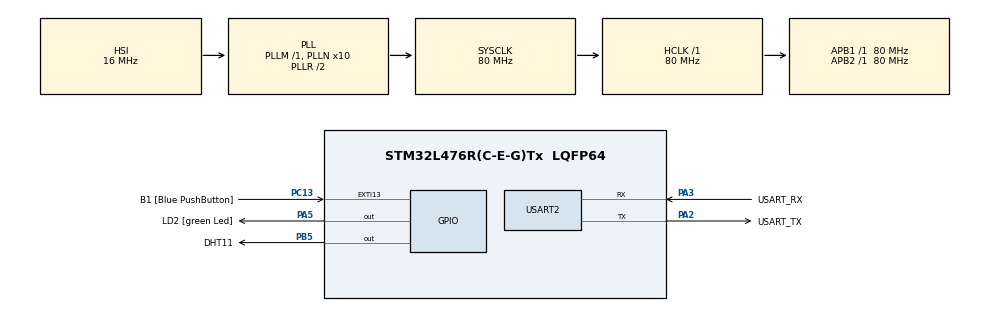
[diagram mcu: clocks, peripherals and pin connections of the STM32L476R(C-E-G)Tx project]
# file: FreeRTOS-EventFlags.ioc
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FREERTOS.Events01=DHT_PRINT,Dynamic,NULL;DELAY_PRINT,Dynamic,NULL
FREERTOS.Tasks01=defaultTask,24,128,StartDefaultTask,Default,NULL,Dynamic,NULL,NULL;Delay1,24,128,entry_Delay1,As external,NULL,Dynamic,NULL,NULL;Print,24,256,entry_Print,As external,NULL,Dynamic,NULL,NULL;BlueLedBlink,24,128,entry_BlueLedBlink,As external,&led,Dynamic,NULL,NULL;Delay2,24,128,entry_Delay2,As external,NULL,Dynamic,NULL,NULL;Delay3,24,128,entry_Delay3,As external,NULL,Dynamic,NULL,NULL
FREERTOS.configTOTAL_HEAP_SIZE=6000
Mcu.Family=STM32L4
Mcu.Name=STM32L476R(C-E-G)Tx
Mcu.Package=LQFP64
NVIC.PriorityGroup=NVIC_PRIORITYGROUP_4
NVIC.TIM1_UP_TIM16_IRQn=true\:15\:0\:false\:false\:true\:false\:false\:true\:true
NVIC.TimeBase=TIM1_UP_TIM16_IRQn
NVIC.TimeBaseIP=TIM16
PA13\ (JTMS-SWDIO).GPIO_Label=TMS
PA13\ (JTMS-SWDIO).Mode=Serial_Wire
PA13\ (JTMS-SWDIO).Signal=SYS_JTMS-SWDIO
PA14\ (JTCK-SWCLK).GPIO_Label=TCK
PA14\ (JTCK-SWCLK).Mode=Serial_Wire
PA14\ (JTCK-SWCLK).Signal=SYS_JTCK-SWCLK
PA2.GPIO_Label=USART_TX
PA2.GPIO_Mode=GPIO_MODE_AF_PP
PA2.GPIO_PuPd=GPIO_NOPULL
PA2.GPIO_Speed=GPIO_SPEED_FREQ_VERY_HIGH
PA2.Mode=Asynchronous
PA2.Signal=USART2_TX
PA3.GPIO_Label=USART_RX
PA3.GPIO_Mode=GPIO_MODE_AF_PP
PA3.GPIO_PuPd=GPIO_NOPULL
PA3.GPIO_Speed=GPIO_SPEED_FREQ_VERY_HIGH
PA3.Mode=Asynchronous
PA3.Signal=USART2_RX
PA5.GPIO_Label=LD2 [green Led]
PA5.GPIO_ModeDefaultOutputPP=GPIO_MODE_OUTPUT_PP
PA5.GPIO_PuPd=GPIO_NOPULL
PA5.GPIO_Speed=GPIO_SPEED_FREQ_LOW
PA5.Signal=GPIO_Output
PB3\ (JTDO-TRACESWO).GPIO_Label=SWO
PB3\ (JTDO-TRACESWO).Signal=SYS_JTDO-SWO
PB5.GPIO_Label=DHT11
PB5.Signal=GPIO_Output
PC13.GPIO_Label=B1 [Blue PushButton]
PC13.GPIO_ModeDefaultEXTI=GPIO_MODE_IT_FALLING
PC13.GPIO_PuPd=GPIO_NOPULL
PC13.Signal=GPXTI13
PC14-OSC32_IN\ (PC14).Mode=LSE-External-Oscillator
PC14-OSC32_IN\ (PC14).Signal=RCC_OSC32_IN
PC15-OSC32_OUT\ (PC15).Mode=LSE-External-Oscillator
PC15-OSC32_OUT\ (PC15).Signal=RCC_OSC32_OUT
PH0-OSC_IN\ (PH0).Signal=RCC_OSC_IN
PH1-OSC_OUT\ (PH1).Signal=RCC_OSC_OUT
ProjectManager.HeapSize=0x200
ProjectManager.StackSize=0x400
ProjectManager.TargetToolchain=STM32CubeIDE
RCC.ADCFreq_Value=64000000
RCC.AHBFreq_Value=80000000
RCC.APB1Freq_Value=80000000
RCC.APB1TimFreq_Value=80000000
RCC.APB2Freq_Value=80000000
RCC.APB2TimFreq_Value=80000000
RCC.CortexFreq_Value=80000000
RCC.HCLKFreq_Value=80000000
RCC.HSE_VALUE=8000000
RCC.HSI_VALUE=16000000
RCC.MSI_VALUE=4000000
RCC.PLLN=10
RCC.PLLSourceVirtual=RCC_PLLSOURCE_HSI
RCC.PREFETCH_ENABLE=1
RCC.SYSCLKFreq_VALUE=80000000
RCC.SYSCLKSource=RCC_SYSCLKSOURCE_PLLCLK
RCC.USBFreq_Value=64000000
RCC.VCOOutputFreq_Value=160000000
TIM6.Prescaler=80
USART2.VirtualMode-Asynchronous=VM_ASYNC
VP_FREERTOS_VS_CMSIS_V2.Mode=CMSIS_V2
VP_SYS_VS_tim16.Mode=TIM16
VP_TIM6_VS_ClockSourceINT.Mode=Enable_Timer
board=NUCLEO-L476RG

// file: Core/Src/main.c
/* USER CODE BEGIN Header */
/**
  ******************************************************************************
  * @file           : main.c
  * @brief          : Main program body
  ******************************************************************************
  * @attention
  *
  * Copyright (c) 2022 STMicroelectronics.
  * All rights reserved.
  *
  * This software is licensed under terms that can be found in the LICENSE file
  * in the root directory of this software component.
  * If no LICENSE file comes with this software, it is provided AS-IS.
  *
  ******************************************************************************
  */
/* USER CODE END Header */
#include "main.h"
#include "cmsis_os.h"

/* USER CODE BEGIN Includes */
#include "Dht11.h"
#include "LED.h"
#include "Defines.h"
#include <stdio.h>
/* USER CODE END Includes */

 TIM_HandleTypeDef htim6;

UART_HandleTypeDef huart2;

/* Definitions for defaultTask */
osThreadId_t defaultTaskHandle;
const osThreadAttr_t defaultTask_attributes = {
  .name = "defaultTask",
  .stack_size = 128 * 4,
  .priority = (osPriority_t) osPriorityNormal,
};
/* Definitions for Delay1 */
osThreadId_t Delay1Handle;
const osThreadAttr_t Delay1_attributes = {
  .name = "Delay1",
  .stack_size = 128 * 4,
  .priority = (osPriority_t) osPriorityNormal,
};
/* Definitions for Print */
osThreadId_t PrintHandle;
const osThreadAttr_t Print_attributes = {
  .name = "Print",
  .stack_size = 256 * 4,
  .priority = (osPriority_t) osPriorityNormal,
};
/* Definitions for BlueLedBlink */
osThreadId_t BlueLedBlinkHandle;
const osThreadAttr_t BlueLedBlink_attributes = {
  .name = "BlueLedBlink",
  .stack_size = 128 * 4,
  .priority = (osPriority_t) osPriorityNormal,
};
/* Definitions for Delay2 */
osThreadId_t Delay2Handle;
const osThreadAttr_t Delay2_attributes = {
  .name = "Delay2",
  .stack_size = 128 * 4,
  .priority = (osPriority_t) osPriorityNormal,
};
/* Definitions for Delay3 */
osThreadId_t Delay3Handle;
const osThreadAttr_t Delay3_attributes = {
  .name = "Delay3",
  .stack_size = 128 * 4,
  .priority = (osPriority_t) osPriorityNormal,
};
/* Definitions for DHT_PRINT */
osEventFlagsId_t DHT_PRINTHandle;
const osEventFlagsAttr_t DHT_PRINT_attributes = {
  .name = "DHT_PRINT"
};
/* Definitions for DELAY_PRINT */
osEventFlagsId_t DELAY_PRINTHandle;
const osEventFlagsAttr_t DELAY_PRINT_attributes = {
  .name = "DELAY_PRINT"
};
/* USER CODE BEGIN PV */

int _write(int fd, char* ptr, int len)
{
	HAL_UART_Transmit(&huart2, (uint8_t*)ptr, len, HAL_MAX_DELAY);
	return len;
}

Dht11 dht;
Led led;

/* USER CODE END PV */

void SystemClock_Config(void);
static void MX_GPIO_Init(void);
static void MX_USART2_UART_Init(void);
static void MX_TIM6_Init(void);
void StartDefaultTask(void *argument);
extern void entry_Delay1(void *argument);
extern void entry_Print(void *argument);
extern void entry_BlueLedBlink(void *argument);
extern void entry_Delay2(void *argument);
extern void entry_Delay3(void *argument);

/* USER CODE BEGIN 0 */

/* USER CODE END Header_entry_DHT */
//void entry_DHT(void *argument)
//{
//  /* USER CODE BEGIN entry_DHT */
//  /* Infinite loop */
//  for(;;)
//  {
//	//waiting for all the flag that passed (here - FLAG_DHT only)
//	//osEventFlagsWait(DHT_PRINTHandle, FLAG_DHT, osFlagsWaitAll, osWaitForever);
//	//Dht11_Read(&dht);
//  }
//  /* USER CODE END entry_DHT */
//}

/* USER CODE END Header_entry_Delay */
void entry_Delay1(void *argument)
{
  /* USER CODE BEGIN entry_Delay */
  /* Infinite loop */
  for(;;)
  {
	//osEventFlagsSet(DHT_PRINTHandle, FLAG_DHT);
    osDelay(500);
    osEventFlagsSet(DELAY_PRINTHandle, FLAG_DELAY1);
  }
  /* USER CODE END entry_Delay */
}

/* USER CODE END Header_entry_Delay2 */
void entry_Delay2(void *argument)
{
  /* USER CODE BEGIN entry_Delay2 */
  /* Infinite loop */
  for(;;)
  {
    osDelay(700);
    osEventFlagsSet(DELAY_PRINTHandle, FLAG_DELAY2);
  }
  /* USER CODE END entry_Delay2 */
}

/* USER CODE END Header_entry_Delay2 */
void entry_Delay3(void *argument)
{
  /* USER CODE BEGIN entry_Delay2 */
  /* Infinite loop */
  for(;;)
  {
    osDelay(1100);
    osEventFlagsSet(DELAY_PRINTHandle, FLAG_DELAY3);
  }
  /* USER CODE END entry_Delay2 */
}

/* USER CODE END Header_entry_Print */
void entry_Print(void *argument)
{
  /* USER CODE BEGIN entry_Print */
  /* Infinite loop */
  for(;;)
  {
	  osEventFlagsWait(DELAY_PRINTHandle, FLAG_DELAY1 | FLAG_DELAY2 | FLAG_DELAY3, osFlagsWaitAll, osWaitForever);
	  printf("%ld\r\n",HAL_GetTick());
	  /*
	  //waiting for all the flag that passed (here - FLAG_Print only)
	  osEventFlagsWait(DHT_PRINTHandle, FLAG_PRINT, osFlagsWaitAll, osWaitForever);
	  printf("Humidity - %.2f\r\nTemperature - %.2f\r\nChekSum - %d\r\n\n",dht.humidity,dht.temperature,dht.checkSum);
	  */
  }
  /* USER CODE END entry_Print */
}

/* USER CODE END 0 */

int main(void)
{

  /* MCU Configuration--------------------------------------------------------*/

  /* Reset of all peripherals, Initializes the Flash interface and the Systick. */
  HAL_Init();

  /* USER CODE BEGIN Init */
  Led_init(&led, LD2_GPIO_Port, LD2_Pin);
  /* USER CODE END Init */

  /* Configure the system clock */
  SystemClock_Config();

  /* Initialize all configured peripherals */
  MX_GPIO_Init();
  MX_USART2_UART_Init();
  MX_TIM6_Init();
  /* USER CODE BEGIN 2 */
  __HAL_TIM_SET_COUNTER(&htim6, 0);
  HAL_TIM_Base_Start(&htim6);
  Dht11_init(&dht);
  /* USER CODE END 2 */

  /* Init scheduler */
  osKernelInitialize();

  /* Create the thread(s) */
  /* creation of defaultTask */
  defaultTaskHandle = osThreadNew(StartDefaultTask, NULL, &defaultTask_attributes);

  /* creation of Delay1 */
  Delay1Handle = osThreadNew(entry_Delay1, NULL, &Delay1_attributes);

  /* creation of Print */
  PrintHandle = osThreadNew(entry_Print, NULL, &Print_attributes);

  /* creation of BlueLedBlink */
  BlueLedBlinkHandle = osThreadNew(entry_BlueLedBlink, (void*) &led, &BlueLedBlink_attributes);

  /* creation of Delay2 */
  Delay2Handle = osThreadNew(entry_Delay2, NULL, &Delay2_attributes);

  /* creation of Delay3 */
  Delay3Handle = osThreadNew(entry_Delay3, NULL, &Delay3_attributes);

  /* Create the event(s) */
  /* creation of DHT_PRINT */
  DHT_PRINTHandle = osEventFlagsNew(&DHT_PRINT_attributes);

  /* creation of DELAY_PRINT */
  DELAY_PRINTHandle = osEventFlagsNew(&DELAY_PRINT_attributes);

  /* Start scheduler */
  osKernelStart();

  /* We should never get here as control is now taken by the scheduler */
  /* Infinite loop */
  while (1)
  {

  }
}

void SystemClock_Config(void)
{
  RCC_OscInitTypeDef RCC_OscInitStruct = {0};
  RCC_ClkInitTypeDef RCC_ClkInitStruct = {0};

  /** Configure the main internal regulator output voltage
  */
  if (HAL_PWREx_ControlVoltageScaling(PWR_REGULATOR_VOLTAGE_SCALE1) != HAL_OK)
  {
    Error_Handler();
  }

  /** Initializes the RCC Oscillators according to the specified parameters
  * in the RCC_OscInitTypeDef structure.
  */
  RCC_OscInitStruct.OscillatorType = RCC_OSCILLATORTYPE_HSI;
  RCC_OscInitStruct.HSIState = RCC_HSI_ON;
  RCC_OscInitStruct.HSICalibrationValue = RCC_HSICALIBRATION_DEFAULT;
  RCC_OscInitStruct.PLL.PLLState = RCC_PLL_ON;
  RCC_OscInitStruct.PLL.PLLSource = RCC_PLLSOURCE_HSI;
  RCC_OscInitStruct.PLL.PLLM = 1;
  RCC_OscInitStruct.PLL.PLLN = 10;
  RCC_OscInitStruct.PLL.PLLP = RCC_PLLP_DIV7;
  RCC_OscInitStruct.PLL.PLLQ = RCC_PLLQ_DIV2;
  RCC_OscInitStruct.PLL.PLLR = RCC_PLLR_DIV2;
  if (HAL_RCC_OscConfig(&RCC_OscInitStruct) != HAL_OK)
  {
    Error_Handler();
  }

  /** Initializes the CPU, AHB and APB buses clocks
  */
  RCC_ClkInitStruct.ClockType = RCC_CLOCKTYPE_HCLK|RCC_CLOCKTYPE_SYSCLK
                              |RCC_CLOCKTYPE_PCLK1|RCC_CLOCKTYPE_PCLK2;
  RCC_ClkInitStruct.SYSCLKSource = RCC_SYSCLKSOURCE_PLLCLK;
  RCC_ClkInitStruct.AHBCLKDivider = RCC_SYSCLK_DIV1;
  RCC_ClkInitStruct.APB1CLKDivider = RCC_HCLK_DIV1;
  RCC_ClkInitStruct.APB2CLKDivider = RCC_HCLK_DIV1;

  if (HAL_RCC_ClockConfig(&RCC_ClkInitStruct, FLASH_LATENCY_4) != HAL_OK)
  {
    Error_Handler();
  }
}

static void MX_TIM6_Init(void)
{

  TIM_MasterConfigTypeDef sMasterConfig = {0};

  htim6.Instance = TIM6;
  htim6.Init.Prescaler = 80;
  htim6.Init.CounterMode = TIM_COUNTERMODE_UP;
  htim6.Init.Period = 65535;
  htim6.Init.AutoReloadPreload = TIM_AUTORELOAD_PRELOAD_DISABLE;
  if (HAL_TIM_Base_Init(&htim6) != HAL_OK)
  {
    Error_Handler();
  }
  sMasterConfig.MasterOutputTrigger = TIM_TRGO_RESET;
  sMasterConfig.MasterSlaveMode = TIM_MASTERSLAVEMODE_DISABLE;
  if (HAL_TIMEx_MasterConfigSynchronization(&htim6, &sMasterConfig) != HAL_OK)
  {
    Error_Handler();
  }

}

static void MX_USART2_UART_Init(void)
{

  huart2.Instance = USART2;
  huart2.Init.BaudRate = 115200;
  huart2.Init.WordLength = UART_WORDLENGTH_8B;
  huart2.Init.StopBits = UART_STOPBITS_1;
  huart2.Init.Parity = UART_PARITY_NONE;
  huart2.Init.Mode = UART_MODE_TX_RX;
  huart2.Init.HwFlowCtl = UART_HWCONTROL_NONE;
  huart2.Init.OverSampling = UART_OVERSAMPLING_16;
  huart2.Init.OneBitSampling = UART_ONE_BIT_SAMPLE_DISABLE;
  huart2.AdvancedInit.AdvFeatureInit = UART_ADVFEATURE_NO_INIT;
  if (HAL_UART_Init(&huart2) != HAL_OK)
  {
    Error_Handler();
  }

}

static void MX_GPIO_Init(void)
{
  GPIO_InitTypeDef GPIO_InitStruct = {0};

  /* GPIO Ports Clock Enable */
  __HAL_RCC_GPIOC_CLK_ENABLE();
  __HAL_RCC_GPIOH_CLK_ENABLE();
  __HAL_RCC_GPIOA_CLK_ENABLE();
  __HAL_RCC_GPIOB_CLK_ENABLE();

  /*Configure GPIO pin Output Level */
  HAL_GPIO_WritePin(LD2_GPIO_Port, LD2_Pin, GPIO_PIN_RESET);

  /*Configure GPIO pin Output Level */
  HAL_GPIO_WritePin(DHT11_GPIO_Port, DHT11_Pin, GPIO_PIN_RESET);

  /*Configure GPIO pin : B1_Pin */
  GPIO_InitStruct.Pin = B1_Pin;
  GPIO_InitStruct.Mode = GPIO_MODE_IT_FALLING;
  GPIO_InitStruct.Pull = GPIO_NOPULL;
  HAL_GPIO_Init(B1_GPIO_Port, &GPIO_InitStruct);

  /*Configure GPIO pin : LD2_Pin */
  GPIO_InitStruct.Pin = LD2_Pin;
  GPIO_InitStruct.Mode = GPIO_MODE_OUTPUT_PP;
  GPIO_InitStruct.Pull = GPIO_NOPULL;
  GPIO_InitStruct.Speed = GPIO_SPEED_FREQ_LOW;
  HAL_GPIO_Init(LD2_GPIO_Port, &GPIO_InitStruct);

  /*Configure GPIO pin : DHT11_Pin */
  GPIO_InitStruct.Pin = DHT11_Pin;
  GPIO_InitStruct.Mode = GPIO_MODE_OUTPUT_PP;
  GPIO_InitStruct.Pull = GPIO_NOPULL;
  GPIO_InitStruct.Speed = GPIO_SPEED_FREQ_LOW;
  HAL_GPIO_Init(DHT11_GPIO_Port, &GPIO_InitStruct);

}

void StartDefaultTask(void *argument)
{
  for(;;)
  {
    osDelay(1);
  }
}

void HAL_TIM_PeriodElapsedCallback(TIM_HandleTypeDef *htim)
{
  if (htim->Instance == TIM16) {
    HAL_IncTick();
  }
}

void Error_Handler(void)
{
  __disable_irq();
  while (1)
  {
  }
}
